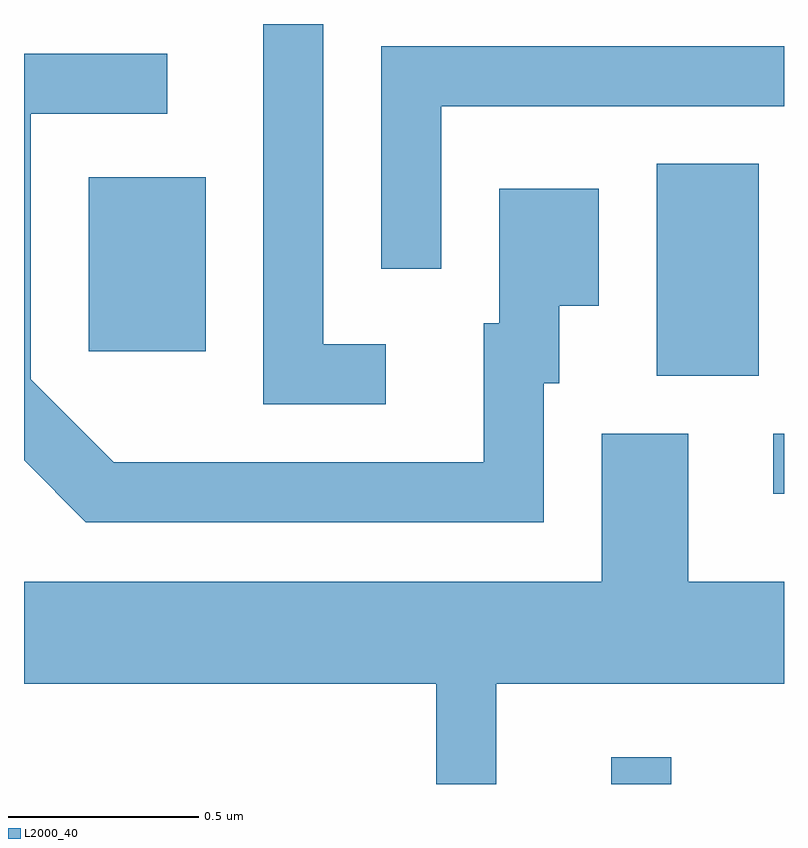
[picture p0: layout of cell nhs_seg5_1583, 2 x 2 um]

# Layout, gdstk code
import gdstk
lib = gdstk.Library(unit=1e-6, precision=1e-09)
def R(c, l, rs):  # rectangles x0, y0, x1, y1
    for r in rs: c.add(gdstk.rectangle(r[:2], r[2:], *l))
def P(c, l, *ps):  # polygons
    for p in ps: c.add(gdstk.Polygon(p, *l))
L2000_40 = (2000, 40)

nhs_seg5_1583 = lib.new_cell('nhs_seg5_1583')
R(nhs_seg5_1583, L2000_40, [(198.156,1472.072,198.314,1472.143), (198.583,1472.836,198.611,1472.994), (198.276,1473.146,198.544,1473.704), (196.781,1473.211,197.089,1473.669)])
P(nhs_seg5_1583, L2000_40, [(197.563,1473.229),(197.399,1473.229),(197.399,1474.072),(197.241,1474.072),(197.241,1473.071),(197.563,1473.071)],
  [(197.709,1473.856),(198.611,1473.856),(198.611,1474.014),(197.551,1474.014),(197.551,1473.428),(197.709,1473.428)],
  [(197.979,1473.126),(198.019,1473.126),(198.019,1473.331),(198.124,1473.331),(198.124,1473.639),(197.861,1473.639),(197.861,1473.284),(197.821,1473.284),(197.821,1472.919),(196.847,1472.919),(196.629,1473.137),(196.629,1473.836),(196.988,1473.836),(196.988,1473.994),(196.611,1473.994),(196.611,1472.924),(196.774,1472.761),(197.979,1472.761)],
  [(197.854,1472.336),(198.611,1472.336),(198.611,1472.604),(198.359,1472.604),(198.359,1472.994),(198.131,1472.994),(198.131,1472.604),(196.611,1472.604),(196.611,1472.336),(197.696,1472.336),(197.696,1472.072),(197.854,1472.072)])

lib.write_gds('nhs_seg5_1583.gds')
